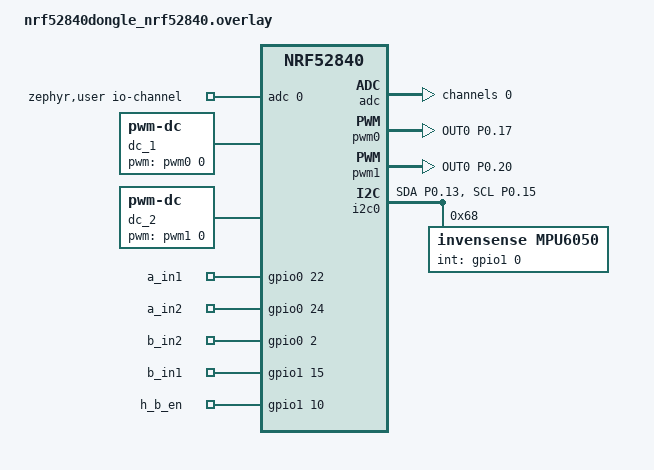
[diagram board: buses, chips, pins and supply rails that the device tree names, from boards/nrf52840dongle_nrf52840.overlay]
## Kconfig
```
#It must be present to get all zephyr Kconfigs using in nrf-sdk

menu "Zephyr"
source "Kconfig.zephyr"
endmenu

config APP_LOG
    bool "Enable logging from app"
    depends on LOGGER_DRV

config APP_DEBUG
    bool "Enable application debug version"
    depends on LOGGER_DRV

module = APP
module-str = MAIN_APP
source "${ZEPHYR_BASE}/subsys/logging/Kconfig.template.log_config"
```

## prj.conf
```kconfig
CONFIG_CPP=y
CONFIG_STD_CPP17=y

# Enable battery controller and logs:
CONFIG_BATTERY_LEVEL_DRV=y
CONFIG_BATTERY_LEVEL_LOG=y

# Enable motor controller and logs:
CONFIG_MOTOR_CONTROLLER_DRV=y
CONFIG_MOTOR_CONTROLLER_LOG=y

# Enable interface controller and logs:
CONFIG_INTERFACE_DRV=y
CONFIG_INTERFACE_LOG=y

# Enable IMU driver, related modules and logs:
CONFIG_IMU_DRV=y
CONFIG_IMU_LOG=y

# Enable balance regulator and logs:
CONFIG_REGULATOR_DRV=y
CONFIG_REGULATOR_LOG=n

# PID - y, or LQR - n:
CONFIG_PID_ENABLED=y

# Enable model identification driver and logs:
CONFIG_MODEL_IDENTIFICATION_DRV=n
CONFIG_MODEL_IDENTIFICATION_LOG=n

# Enable logs from utils module:
CONFIG_UTILS_LOG=y

# Enable logger driver:
CONFIG_LOGGER_DRV=y
CONFIG_LOG_OVER_SERIAL=y
CONFIG_LOG_OVER_BLE=y

# Enable app log:
CONFIG_APP_LOG=n

# Enable debug:
CONFIG_APP_DEBUG=y

# Enable FPU module for proper floats handling:
CONFIG_FPU=y

 #±4g dla akcelerometru  
CONFIG_MPU6050_ACCEL_FS=2
 #±500°/s dla żyroskopu  
CONFIG_MPU6050_GYRO_FS=250
```

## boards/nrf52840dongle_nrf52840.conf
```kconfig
# This the BLE configuration for logger driver it propose our peripheral device data exchagne parameters values to the ble central 
# while negotiating parameteres (between central and peripheral)

CONFIG_BT_CTLR_DATA_LENGTH_MAX=251
CONFIG_BT_BUF_ACL_RX_SIZE=251
CONFIG_BT_BUF_ACL_TX_SIZE=251
CONFIG_BT_L2CAP_TX_MTU=247
```

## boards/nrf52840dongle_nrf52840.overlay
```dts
/ {
    zephyr,user {
        io-channels = <&adc 0>;
    };
};


&adc {
    status = "okay";
    #address-cells = <1>;
    #size-cells = <0>;

    channel@0 {
        reg = <0>;
        zephyr,gain = "ADC_GAIN_1_6";
        zephyr,reference = "ADC_REF_INTERNAL";
        zephyr,acquisition-time = <ADC_ACQ_TIME_DEFAULT>;
        zephyr,input-positive = <NRF_SAADC_AIN7>; /* P0.31 for nRF52840 Dongle */
        zephyr,resolution = <12>;
        zephyr,oversampling = <8>;
    };
};

&gpio0 {
    status = "okay";
    a_in_pins {
        compatible = "gpio-keys";
        a_in1: a_in1 {
            gpios = <&gpio0 22 GPIO_ACTIVE_HIGH>;
        };
        a_in2: a_in2 {
            gpios = <&gpio0 24 GPIO_ACTIVE_HIGH>;
        };
    };
    b_in_pins{
        compatible = "gpio-keys";
        b_in2: b_in2 {
            gpios = <&gpio0 2 GPIO_ACTIVE_HIGH>;
        };
    };
};

&gpio1 {
    status = "okay";
    b_in_pins{
        compatible = "gpio-keys";
        b_in1: b_in1 {
            gpios = <&gpio1 15 GPIO_ACTIVE_HIGH>;
        };
    };
    h_bridge_en_pin{
        compatible = "gpio-keys";
        h_b_en: h_b_en {
            gpios = <&gpio1 10 GPIO_ACTIVE_HIGH>;
        };
    };
};

/ {
    dc_1: dc_1 {
        compatible = "pwm-dc";
        pwms = <&pwm0 0 PWM_MSEC(20) PWM_POLARITY_NORMAL>;
    };

    dc_2: dc_2 {
        compatible = "pwm-dc";
        pwms = <&pwm1 0 PWM_MSEC(20) PWM_POLARITY_NORMAL>;
    };
};

&pwm0 {
    status = "okay";
    pinctrl-0 = <&pwm0_custom_motor>;
    pinctrl-1 = <&pwm0_csleep_motor>;
    pinctrl-names = "default", "sleep";
};

&pwm1 {
    status = "okay";
    pinctrl-0 = <&pwm1_custom_motor>;
    pinctrl-1 = <&pwm1_csleep_motor>;
    pinctrl-names = "default", "sleep";
};

&pinctrl {
    pwm0_custom_motor: pwm0_custom_motor {
        group1 {
            psels = <NRF_PSEL(PWM_OUT0, 0, 17)>;
            /*nordic,invert; - uncoment this if negative PWM is needed*/
        };
    };

    pwm0_csleep_motor: pwm0_csleep_motor {
        group1 {
            psels = <NRF_PSEL(PWM_OUT0, 0, 17)>;
            low-power-enable;
        };
    };

    pwm1_custom_motor: pwm1_custom_motor {
        group1 {
            psels = <NRF_PSEL(PWM_OUT0, 0, 20)>;
            /*nordic,invert; - uncoment this if negative PWM is needed*/
        };
    };

    pwm1_csleep_motor: pwm1_csleep_motor {
        group1 {
            psels = <NRF_PSEL(PWM_OUT0, 0, 20)>;
            low-power-enable;
        };
    };

    i2c0_default: i2c0_default {
        group1 {
            psels = <NRF_PSEL(TWIM_SDA, 0, 13)>,
                    <NRF_PSEL(TWIM_SCL, 0, 15)>;
        };
    };

    i2c0_sleep: i2c0_sleep {
        group1 {
            psels = <NRF_PSEL(TWIM_SDA, 0, 13)>,  
                    <NRF_PSEL(TWIM_SCL, 0, 15)>;
        };
    };
};

/* Disabling uart to make pwm work - default uart pins and out pwm configuration overlaps which was causing pwm not to work properly */
&uart0 {
    compatible = "nordic,nrf-uarte";
    status = "disabled";
    current-speed = <115200>;
    pinctrl-0 = <&uart0_default>;
    pinctrl-1 = <&uart0_sleep>;
    pinctrl-names = "default", "sleep";
};

&i2c0 {
    status = "okay";
    pinctrl-0 = <&i2c0_default>;
    pinctrl-1 = <&i2c0_sleep>;
    pinctrl-names = "default", "sleep";

    mpu6050@68 {
        compatible = "invensense,mpu6050";
        reg = <0x68>;
        status = "okay";
        int-gpios = <&gpio1 0 GPIO_ACTIVE_HIGH>;
    };
};
```

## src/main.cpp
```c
#pragma GCC diagnostic ignored "-Wdouble-promotion"

#ifdef CONFIG_APP_LOG
#include "logger.h"
#endif  // CONFIG_APP_LOG

#ifdef CONFIG_INTERFACE_DRV
#include "interface.h"
#define BLINKING_INTERVAL 500
#endif  // CONFIG_INTERFACE_DRV

#ifdef CONFIG_LOG_OVER_BLE
#include "ble_logger_service.h"
#endif  // CONFIG_IMU_DRV

#ifdef CONFIG_BATTERY_LEVEL_DRV
#include "battery_level.h"
#define MEASUREMENT_INTERVAL 9000

static void
new_battery_level_callback(battery_level_data data)
{
#ifdef CONFIG_APP_LOG
    platform_log("APP", LOG_LEVEL_INF, "bat lvl %u", data.battery_level_percent);
    platform_log("APP", LOG_LEVEL_INF, "bat lvl mv %u", data.battery_level_mv);
#endif  // CONFIG_APP_LOG
}
#endif  // CONFIG_BATTERY_LEVEL_DRV

#ifdef CONFIG_REGULATOR_DRV
#include "imu.h"
#include "regulator.h"

#ifdef CONFIG_PID_ENABLED
#include "pid.h"

void
new_pid_regulator_parameters(pid_regulator_parameters data)
{
#ifdef CONFIG_APP_LOG
    // More than two ints can't be printed with print.
    platform_log("APP", LOG_LEVEL_INF, "Kp: %f, Ki: %f, Kd: %f, Setpoint: %f", data.K, data.I, data.D, data.setpoint);
#endif  // CONFIG_APP_LOG
}
#else
#include "lqr.h"

void
new_lqr_parameters(lqr_parameters data)
{
#ifdef CONFIG_APP_LOG
    // More than two ints can't be printed with print.
    platform_log("APP", LOG_LEVEL_INF, "K1: %f, K2: %f, Setpoint: %f", data.Kx, data.Ky, data.setpoint);
#endif  // CONFIG_APP_LOG
}
#endif  // CONFIG_PID_ENABLED

#endif  // CONFIG_REGULATOR_DRV

#ifdef CONFIG_MODEL_IDENTIFICATION_DRV
#include "model_identification.h"
#endif  // CONFIG_MODEL_IDENTIFICATION_DRV

int
main(void)
{
#ifdef CONFIG_APP_LOG
    platform_log("APP", LOG_LEVEL_INF, "Application started.");
#endif  // CONFIG_APP_LOG

#ifdef CONFIG_INTERFACE_DRV
#ifdef CONFIG_APP_LOG
    platform_log("APP", LOG_LEVEL_INF, "interface driver is enabled.");
#endif  // CONFIG_APP_LOG

    led_start_periodic_blinking(BLINKING_INTERVAL);
#endif  // CONFIG_INTERFACE_DRV

#ifdef CONFIG_BATTERY_LEVEL_DRV
#ifdef CONFIG_APP_LOG
    platform_log("APP", LOG_LEVEL_INF, "Battery level driver is enabled.");
#endif  // CONFIG_APP_LOG

    new_battery_level_cb_register(new_battery_level_callback);
    battery_start_periodic_measurement(MEASUREMENT_INTERVAL);
#endif  // CONFIG_BATTERY_LEVEL_DRV

#ifdef CONFIG_LOG_OVER_BLE
#ifdef CONFIG_APP_LOG
    platform_log("APP", LOG_LEVEL_INF, "Receiving regulator parameters through NUS.");
#endif  // CONFIG_APP_LOG

#ifdef CONFIG_REGULATOR_DRV
    new_regulator_parameters_parser_cb_register(
        parse_regulator_data);  // Parser callback definition depends on the regulator type.

#ifdef CONFIG_PID_ENABLED
    new_pid_parameters_cb_register(new_pid_regulator_parameters);
#else
    new_lqr_parameters_cb_register(new_lqr_parameters);
#endif  // CONFIG_PID_ENABLED
#endif  // CONFIG_REGULATOR_DRV
#endif  // CONFIG_LOG_OVER_BLE

#ifdef CONFIG_REGULATOR_DRV
    new_imu_cb_register(new_imu_data_for_regulator); 
    new_calculate_regulator_output_cb_register(
        calculate_regulator_output);             // Regulator output calculation callback depends on the regulator type.
    new_get_setpoint_cb_register(get_setpoint);  // Setpoint getter callback depends on the regulator type

#ifdef CONFIG_MODEL_IDENTIFICATION_DRV
    new_send_identification_data_cb_register(new_regulator_data_for_identification);

#ifdef CONFIG_APP_LOG
    platform_log("APP", LOG_LEVEL_INF, "Model identification driver is enabled.");
#endif  // CONFIG_APP_LOG

#else
    regulator_start_automatic_control();
#endif  // CONFIG_MODEL_IDENTIFICATION_DRV
#endif  // CONFIG_REGULATOR_DRV
}
```
